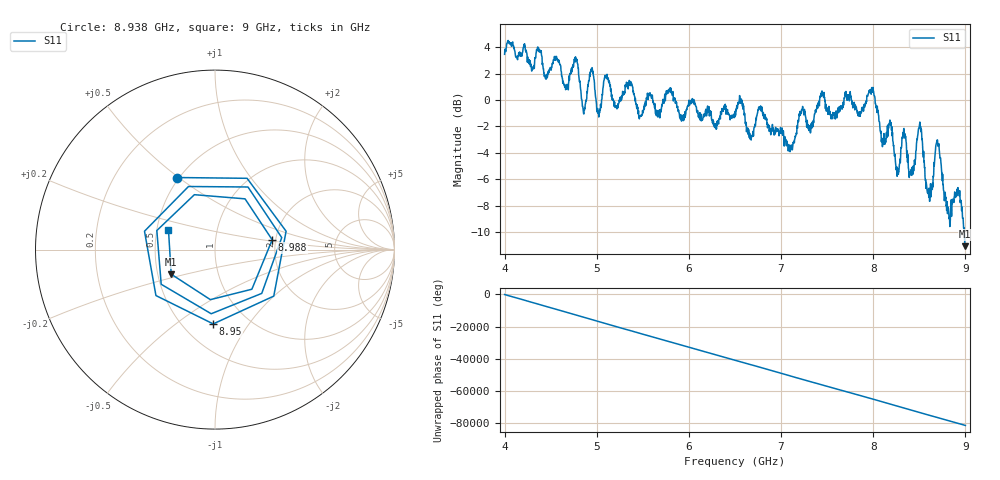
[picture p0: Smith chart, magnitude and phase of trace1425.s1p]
! Created with skrf 1.8.0 (http://scikit-rf.org).
# Hz S RI R 50.0
!freq ReS11 ImS11
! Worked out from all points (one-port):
!   1601 points, 4 GHz to 9 GHz, reference 50 ohm
!   lowest |S11| = -11.1 dB at 8.997 GHz (marker M1), VSWR 1.78, Z = 29.4 - j8.74 ohm
!   |S11| at or under -10 dB: 8.988958 GHz to end of sweep
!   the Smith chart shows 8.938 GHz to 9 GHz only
!   S11 on the Smith chart (normalised r, x): 8.938 GHz: 0.49, +0.49; 8.95 GHz: 0.70, -0.69; 8.988 GHz: 1.92, +0.23; 9 GHz: 0.58, +0.14
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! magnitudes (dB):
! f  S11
! 4 GHz  3.5
! 4.625 GHz  1.7
! 4.769 GHz  3.3
! 4.859 GHz  -1.1
! 4.944 GHz  2.3
! 5.022 GHz  -1.3
! 5.1 GHz  1.7
! 5.25 GHz  -0.1
! 5.875 GHz  -0.6
! 6.5 GHz  -1.3
! 7.125 GHz  -3.6
! 7.219 GHz  -1.0
! 7.75 GHz  0.6
! 7.988 GHz  0.6
! 8.188 GHz  -1.9
! 8.256 GHz  -5.1
! 8.334 GHz  -2.2
! 8.375 GHz  -4.1
! 8.428 GHz  -5.3
! 8.506 GHz  -1.7
! 8.594 GHz  -6.8
! 8.694 GHz  -3.1
! 8.812 GHz  -8.1
! 8.938 GHz  -6.9
! 8.95 GHz  -7.7
! 8.988 GHz  -9.8
! 8.997 GHz  -11.1
! 9 GHz  -11.0
